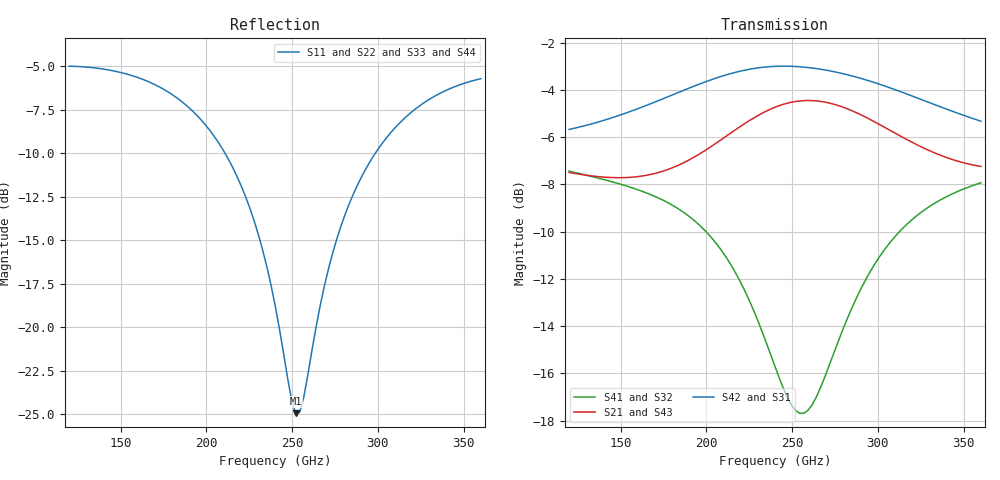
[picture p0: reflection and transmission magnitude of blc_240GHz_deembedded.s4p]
! Created with skrf 2.2.0 (http://scikit-rf.org).
# GHz S DB R 50.0
! Port[1] = P1
! Port[2] = P2
! Port[3] = P3
! Port[4] = P4
!freq dBS11 angS11 dBS12 angS12 dBS13 angS13
! dBS14 angS14
! dBS21 angS21 dBS22 angS22 dBS23 angS23
! dBS24 angS24
! dBS31 angS31 dBS32 angS32 dBS33 angS33
! dBS34 angS34
! dBS41 angS41 dBS42 angS42 dBS43 angS43
! dBS44 angS44
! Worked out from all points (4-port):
!   101 points, 120 GHz to 360 GHz, reference 50 ohm
!   strongest paths, dB at 120 GHz, 180 GHz, 240 GHz, 300 GHz, 360 GHz:
!     S42: -5.7, -4.2, -3.0, -3.7, -5.3
!     S31: -5.7, -4.2, -3.0, -3.7, -5.3
!     S21: -7.5, -7.3, -4.7, -5.4, -7.2
!     S43: -7.5, -7.3, -4.7, -5.4, -7.2
!     S41: -7.4, -8.9, -15.7, -11.2, -7.9
!     S32: -7.4, -8.9, -15.7, -11.2, -7.9
!   lowest |S11| = -25.0 dB at 252 GHz (marker M1), VSWR 1.12, Z = 56 + j0.267 ohm
!   |S11| at or under -10 dB: 210.9 GHz to 298.5 GHz (87.61 GHz wide, 34.4 % of centre)
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120  -4.99 159.4  -7.50 -48.3  -5.67 -77.5  -7.44 -60.0
     -7.50 -48.3  -5.00 159.4  -7.44 -60.0  -5.68 -77.5
     -5.67 -77.5  -7.44 -60.0  -5.00 159.4  -7.50 -48.3
     -7.44 -60.0  -5.68 -77.5  -7.50 -48.3  -5.00 159.4
170.4  -6.08 135.3  -7.53 -58.8  -4.50 -111.6  -8.53 -85.6
       -7.53 -58.8  -6.08 135.4  -8.52 -85.5  -4.50 -111.6
       -4.50 -111.6  -8.52 -85.5  -6.09 135.4  -7.53 -58.9
       -8.53 -85.6  -4.50 -111.6  -7.53 -58.9  -6.08 135.3
206.4  -9.29 109.1  -6.22 -67.9  -3.48 -141.0  -10.56 -106.8
       -6.22 -67.9  -9.29 109.1  -10.56 -106.8  -3.48 -141.0
       -3.48 -141.0  -10.56 -106.8  -9.31 109.1  -6.22 -67.9
       -10.56 -106.8  -3.48 -141.0  -6.22 -67.9  -9.29 109.1
230.4  -14.71 82.7  -5.07 -80.0  -3.07 -163.2  -13.85 -116.0
       -5.07 -80.0  -14.69 82.7  -13.85 -116.0  -3.07 -163.1
       -3.07 -163.2  -13.85 -116.0  -14.74 82.7  -5.08 -80.1
       -13.85 -116.0  -3.07 -163.1  -5.08 -80.1  -14.69 82.8
252  -24.95 2.4  -4.49 -94.9  -3.01 176.3  -17.57 -98.9
     -4.49 -94.9  -24.85 2.9  -17.59 -99.0  -3.01 176.3
     -3.01 176.3  -17.59 -99.0  -24.95 1.7  -4.50 -94.9
     -17.57 -98.9  -3.01 176.3  -4.50 -94.9  -24.92 2.9
292.8  -10.92 -112.9  -5.16 -122.7  -3.58 138.9  -12.04 -72.1
       -5.16 -122.7  -10.93 -112.6  -12.06 -72.0  -3.57 139.0
       -3.58 138.9  -12.06 -72.0  -10.90 -112.8  -5.16 -122.7
       -12.04 -72.1  -3.57 139.0  -5.16 -122.7  -10.93 -112.8
360  -5.71 -155.2  -7.24 -146.6  -5.34 86.8  -7.93 -109.6
     -7.24 -146.6  -5.72 -154.9  -7.94 -109.5  -5.33 86.8
     -5.34 86.8  -7.94 -109.5  -5.71 -155.0  -7.25 -146.6
     -7.93 -109.6  -5.33 86.8  -7.25 -146.6  -5.72 -155.2
